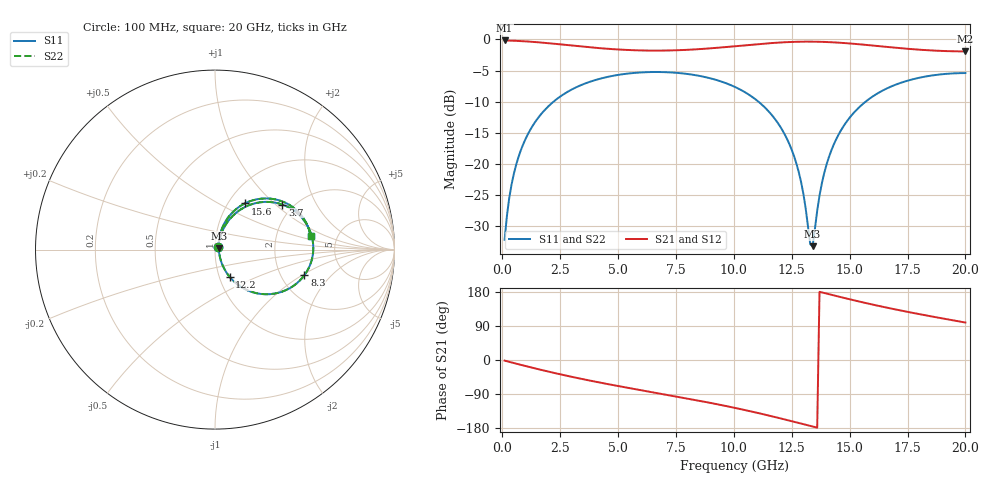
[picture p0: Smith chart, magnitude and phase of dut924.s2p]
! Touchstone file exported from HFSS 2026.1.0
!  File:  C:/ffzhzh/LocalFiles/Ansys_Project_Files/temp_train_TSV_RDL_924_1783279544_30076.aedt
!  Generated:  03:40:35 AM Jul  6, 2026
!  Design:  TSV_RDL
!  Project:  temp_train_TSV_RDL_924_1783279544_30076
! Variables:
!  h_bsmrdl = 5.63um
!  h_ox = 20um
!  h_rdl = 5um
!  h_sub = 54.17um
!  h_tmrdl = 2.43um
!  h_tsv = 54.17um
!  h_via = 3um
!  l_bsmrdl = 881.58um
!  l_sub = 4704.25um
!  l_tmrdl = 377.58um
!  m_sub = 200um
!  pitch = 57.74um
!  r_tsv = 9.42um
!  s_tmrdl = 10um
!  w_bsmrdl = 28.29um
!  w_sub = 500um
!  w_tmrdl = 21.44um
!  x_tsv_center1 = 388.3um
!  x_tsv_center2 = 1298.17um
!  x_tsv_center3 = 1697.19um
!  x_tsv_center4 = 2607.06um
!  x_tsv_center5 = 3006.08um
!  x_tsv_center6 = 3915.95um
# GHz S MA R 50.000000
! Terminal data exported
! Port[1] = TM_RDL1_1_T1
! Port[2] = TM_RDL5_1_T1
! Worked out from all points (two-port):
!   200 points, 100 MHz to 20 GHz, reference 50 ohm
!   highest |S21| = -0.16 dB at 100 MHz (marker M1); lowest = -1.9 dB at 20 GHz (marker M2)
!   |S21| within 3 dB of the highest: start of sweep to end of sweep
!   lowest |S11| = -33.2 dB at 13.4 GHz (marker M3), VSWR 1.04, Z = 52.1 + j0.783 ohm
!   |S11| at or under -10 dB: start of sweep to 2.212 GHz; 11.06 GHz to 15.69 GHz (4.627 GHz wide, 34.6 % of centre)
!   |S22| runs from -33.1 to -5.2 dB; largest |S21 - S12| = 1.7e-14
!   S11 on the Smith chart (normalised r, x): 100 MHz: 1.04, +0.03; 3.7 GHz: 1.76, +1.11; 8.3 GHz: 2.69, -1.05; 12.2 GHz: 1.12, -0.35; 15.6 GHz: 1.19, +0.68; 20 GHz: 3.17, +0.66
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0.1  0.02455 42.6  0.9823 -1.7  0.9823 -1.7  0.02455 42.6
! Gamma 0 0 0 0
! Port Impedance 50 0 50 0
0.3  0.0531 64.1  0.9798 -4.9  0.9798 -4.9  0.0531 64.1
0.5  0.08337 68.1  0.9768 -8.1  0.9768 -8.1  0.08337 68.1
1.1  0.1725 65.4  0.9634 -17.4  0.9634 -17.4  0.1725 65.4
2.1  0.3033 53.4  0.9294 -32.2  0.9294 -32.2  0.3033 53.4
3.5  0.4372 36.1  0.8752 -50.8  0.8752 -50.8  0.4372 36.1
3.7  0.4515 33.7  0.8681 -53.3  0.8681 -53.3  0.4515 33.7
6.8  0.5476 0.0  0.8141 -88.5  0.8141 -88.5  0.5476 0.0
8.3  0.5182 -16.0  0.8318 -105.2  0.8318 -105.2  0.5182 -16.0
10.1  0.411 -36.7  0.8846 -127.1  0.8846 -127.1  0.411 -36.7
11.3  0.2889 -51.5  0.9262 -143.5  0.9262 -143.5  0.2889 -51.5
12.2  0.1721 -61.7  0.9504 -156.9  0.9504 -156.9  0.1721 -61.7
12.8  0.08641 -63.8  0.9593 -166.1  0.9593 -166.1  0.08648 -63.6
13  0.05784 -59.6  0.9606 -169.2  0.9606 -169.2  0.05794 -59.4
13.3  0.02259 -18.0  0.961 -173.9  0.961 -173.9  0.02282 -17.9
13.4  0.02179 20.2  0.9607 -175.4  0.9607 -175.4  0.02201 19.9
13.7  0.05555 66.6  0.9585 179.9  0.9585 179.9  0.05563 66.3
14.1  0.1125 71.9  0.9527 173.7  0.9527 173.7  0.1125 71.8
14.7  0.1958 67.6  0.9386 164.7  0.9386 164.7  0.1958 67.5
15.6  0.3065 57.1  0.9089 151.7  0.9089 151.7  0.3064 57.1
16.7  0.4114 43.8  0.8684 137.0  0.8684 137.0  0.4114 43.8
20  0.5372 7.9  0.8019 98.8  0.8019 98.8  0.5372 7.9
